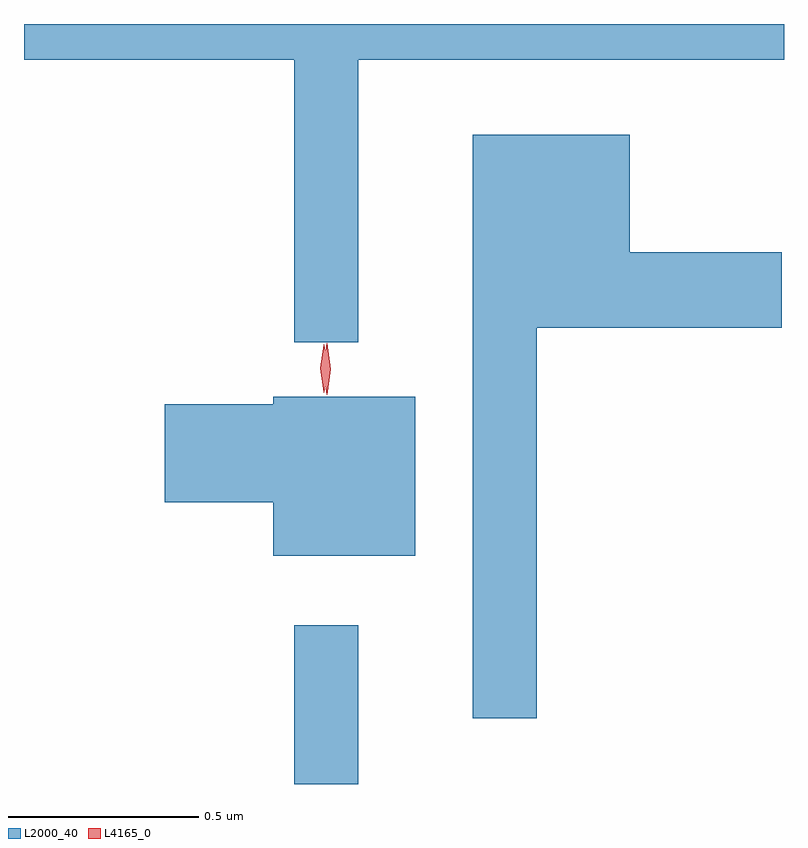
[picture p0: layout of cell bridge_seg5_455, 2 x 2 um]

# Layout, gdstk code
import gdstk
lib = gdstk.Library(unit=1e-6, precision=1e-09)
def R(c, l, rs):  # rectangles x0, y0, x1, y1
    for r in rs: c.add(gdstk.rectangle(r[:2], r[2:], *l))
def P(c, l, *ps):  # polygons
    for p in ps: c.add(gdstk.Polygon(p, *l))
L2000_40 = (2000, 40)
L4165_0 = (4165, 0)

bridge_seg5_455 = lib.new_cell('bridge_seg5_455')
R(bridge_seg5_455, L2000_40, [(240.141,1517.05,240.309,1517.468)])
P(bridge_seg5_455, L2000_40, [(240.309,1518.956),(241.43,1518.956),(241.43,1519.05),(239.43,1519.05),(239.43,1518.956),(240.141,1518.956),(240.141,1518.213),(240.309,1518.213)],
  [(240.779,1518.251),(241.424,1518.251),(241.424,1518.449),(241.024,1518.449),(241.024,1518.759),(240.611,1518.759),(240.611,1517.223),(240.779,1517.223)],
  [(240.459,1518.069),(240.086,1518.069),(240.086,1518.049),(239.801,1518.049),(239.801,1517.791),(240.086,1517.791),(240.086,1517.651),(240.459,1517.651)])
P(bridge_seg5_455, L4165_0, [(240.227,1518.074),(240.218,1518.142),(240.227,1518.21),(240.227,1518.21),(240.228,1518.21),(240.237,1518.142),(240.228,1518.074),(240.228,1518.074)],
  [(240.219,1518.08),(240.219,1518.081),(240.209,1518.144),(240.219,1518.206),(240.219,1518.207),(240.22,1518.206),(240.229,1518.144),(240.22,1518.081)])

lib.write_gds('bridge_seg5_455.gds')
